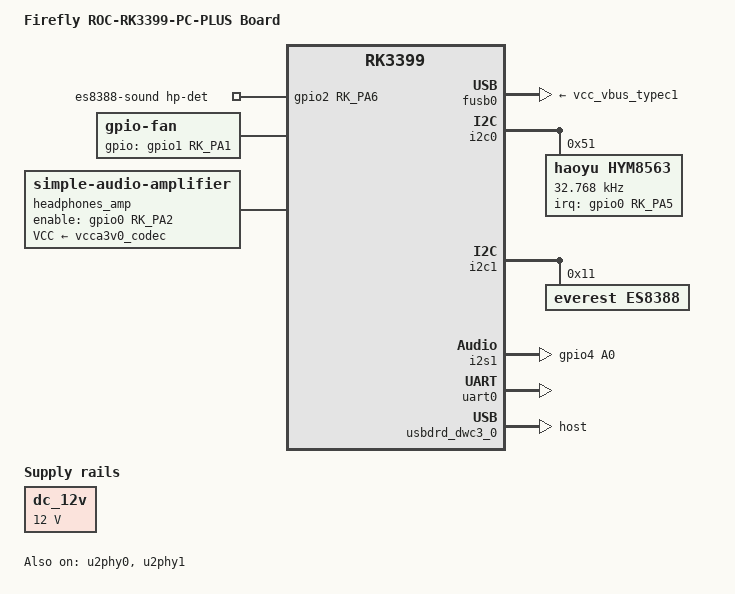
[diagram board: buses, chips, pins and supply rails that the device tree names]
// SPDX-License-Identifier: (GPL-2.0+ OR MIT)
/*
 * Copyright (c) 2017 T-Chip Intelligent Technology Co., Ltd
 */

/dts-v1/;
#include "rk3399-roc-pc.dtsi"

/*
 * Notice:
 * 1. rk3399-roc-pc-plus is powered by dc_12v directly.
 * 2. rk3399-roc-pc-plus has only vcc_bus_typec0 in schematic, which is coresponding
 *    to vcc_vbus_typec1 in rk3399-roc-pc.
 *    For simplicity, reserve the node name of vcc_vbus_typec1.
 * 3. vcc5v0_host is actually 2 regulators (host0, 1) controlled by the same gpio.
 */

/delete-node/ &fusb1;
/delete-node/ &hub_rst;
/delete-node/ &mp8859;
/delete-node/ &vcc_sys_en;
/delete-node/ &vcc_vbus_typec0;
/delete-node/ &yellow_led;

/ {
	model = "Firefly ROC-RK3399-PC-PLUS Board";
	compatible = "firefly,roc-rk3399-pc-plus", "rockchip,rk3399";

	dc_12v: dc-12v {
		compatible = "regulator-fixed";
		regulator-name = "dc_12v";
		regulator-always-on;
		regulator-boot-on;
		regulator-min-microvolt = <12000000>;
		regulator-max-microvolt = <12000000>;
	};

	es8388-sound {
		compatible = "simple-audio-card";
		pinctrl-names = "default";
		pinctrl-0 = <&hp_det_pin>;
		simple-audio-card,name = "rockchip,es8388-codec";
		simple-audio-card,format = "i2s";
		simple-audio-card,mclk-fs = <256>;
		simple-audio-card,widgets =
			"Microphone", "Mic Jack",
			"Headphone", "Headphones";
		simple-audio-card,routing =
			"LINPUT1", "Mic Jack",
			"Headphone Amp INL", "LOUT2",
			"Headphone Amp INR", "ROUT2",
			"Headphones", "Headphone Amp OUTL",
			"Headphones", "Headphone Amp OUTR";
		simple-audio-card,hp-det-gpio = <&gpio2 RK_PA6 GPIO_ACTIVE_HIGH>;
		simple-audio-card,aux-devs = <&headphones_amp>;
		simple-audio-card,pin-switches = "Headphones";

		simple-audio-card,codec {
			sound-dai = <&es8388>;
		};

		simple-audio-card,cpu {
			sound-dai = <&i2s1>;
		};
	};

	gpio-fan {
		#cooling-cells = <2>;
		compatible = "gpio-fan";
		gpio-fan,speed-map = <0 0 3000 1>;
		gpios = <&gpio1 RK_PA1 GPIO_ACTIVE_HIGH>;
	};

	/delete-node/ gpio-keys;

	/* not amplifier, used as switcher only */
	headphones_amp: headphones-amp {
		compatible = "simple-audio-amplifier";
		pinctrl-names = "default";
		pinctrl-0 = <&ear_ctl_pin>;
		enable-gpios = <&gpio0 RK_PA2 GPIO_ACTIVE_HIGH>;
		sound-name-prefix = "Headphone Amp";
		VCC-supply = <&vcca3v0_codec>;
	};

	ir-receiver {
		linux,rc-map-name = "rc-khadas";
	};

	leds {
		pinctrl-names = "default";
		pinctrl-0 = <&work_led_pin>, <&diy_led_pin>;
	};
};

&fusb0 {
	vbus-supply = <&vcc_vbus_typec1>;
};

&i2c0 {
	hym8563: rtc@51 {
		compatible = "haoyu,hym8563";
		reg = <0x51>;
		interrupt-parent = <&gpio0>;
		interrupts = <RK_PA5 IRQ_TYPE_EDGE_FALLING>;
		#clock-cells = <0>;
		clock-frequency = <32768>;
		clock-output-names = "xin32k";
		pinctrl-names = "default";
		pinctrl-0 = <&hym8563_int>;
	};
};

&i2c1 {
	es8388: es8388@11 {
		compatible = "everest,es8388";
		reg = <0x11>;
		clock-names = "mclk";
		clocks = <&cru SCLK_I2S_8CH_OUT>;
		#sound-dai-cells = <0>;
	};
};

/* <4 RK_PA0 1 &pcfg_pull_none> is used as i2s_8ch_mclk_pin */
&i2s0_8ch_bus {
	rockchip,pins =
		<3 RK_PD0 1 &pcfg_pull_none>,
		<3 RK_PD1 1 &pcfg_pull_none>,
		<3 RK_PD2 1 &pcfg_pull_none>,
		<3 RK_PD3 1 &pcfg_pull_none>,
		<3 RK_PD4 1 &pcfg_pull_none>,
		<3 RK_PD5 1 &pcfg_pull_none>,
		<3 RK_PD6 1 &pcfg_pull_none>,
		<3 RK_PD7 1 &pcfg_pull_none>;
};

&i2s1 {
	pinctrl-names = "default";
	pinctrl-0 = <&i2s_8ch_mclk_pin>, <&i2s1_2ch_bus>;
	rockchip,playback-channels = <2>;
	rockchip,capture-channels = <2>;
	status = "okay";
};

&pinctrl {
	es8388 {
		ear_ctl_pin: ear-ctl-pin {
			rockchip,pins = <0 RK_PA2 RK_FUNC_GPIO &pcfg_output_high>;
		};

		hp_det_pin: hp-det-pin {
			rockchip,pins = <2 RK_PA6 RK_FUNC_GPIO &pcfg_pull_down>;
		};
	};

	hym8563 {
		hym8563_int: hym8563-int {
			rockchip,pins = <0 RK_PA5 RK_FUNC_GPIO &pcfg_pull_up>;
		};
	};

	i2s1 {
		i2s_8ch_mclk_pin: i2s-8ch-mclk-pin {
			rockchip,pins = <4 RK_PA0 1 &pcfg_pull_none>;
		};
	};
};

&u2phy0 {
	status = "okay";

	u2phy0_otg: otg-port {
		phy-supply = <&vcc_vbus_typec1>;
		status = "okay";
	};

	u2phy0_host: host-port {
		phy-supply = <&vcc5v0_host>;
		status = "okay";
	};
};

&u2phy1 {
	status = "okay";

	u2phy1_otg: otg-port {
		phy-supply = <&vcc5v0_host>;
		status = "okay";
	};

	u2phy1_host: host-port {
		phy-supply = <&vcc5v0_host>;
		status = "okay";
	};
};

&uart0 {
	pinctrl-names = "default";
	pinctrl-0 = <&uart0_xfer &uart0_cts &uart0_rts>;
	status = "okay";
};

&usbdrd_dwc3_0 {
	dr_mode = "host";
	status = "okay";
};

&vcc_sys {
	/* vcc_sys is fixed, not controlled by any gpio */
	/delete-property/ gpio;
	/delete-property/ pinctrl-names;
	/delete-property/ pinctrl-0;
};

&vcc5v0_host {
	pinctrl-names = "default";
	pinctrl-0 = <&vcc5v0_host_en>;
};
